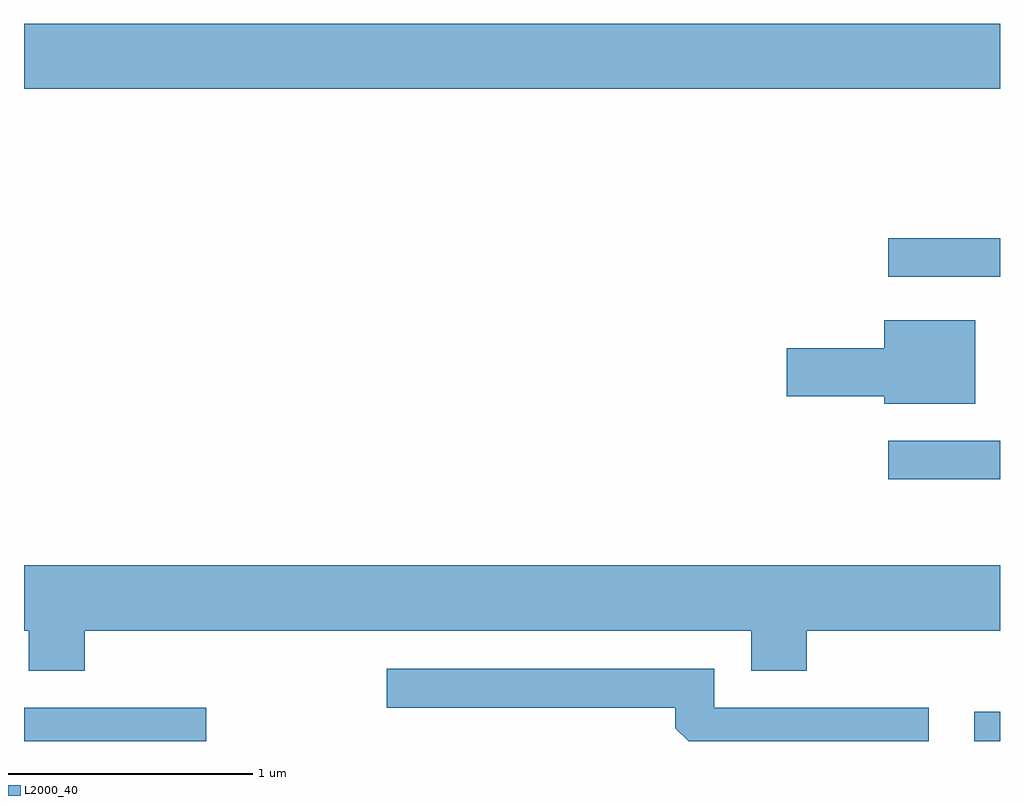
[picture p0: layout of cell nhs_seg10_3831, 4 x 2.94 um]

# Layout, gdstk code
import gdstk
lib = gdstk.Library(unit=1e-6, precision=1e-09)
def R(c, l, rs):  # rectangles x0, y0, x1, y1
    for r in rs: c.add(gdstk.rectangle(r[:2], r[2:], *l))
def P(c, l, *ps):  # polygons
    for p in ps: c.add(gdstk.Polygon(p, *l))
L2000_40 = (2000, 40)

nhs_seg10_3831 = lib.new_cell('nhs_seg10_3831')
R(nhs_seg10_3831, L2000_40, [(297.611,2164.522,298.358,2164.659), (301.506,2164.522,301.611,2164.644), (301.153,2165.596,301.611,2165.754), (301.153,2166.426,301.611,2166.584), (297.611,2167.196,301.611,2167.464)])
P(nhs_seg10_3831, L2000_40, [(301.509,2166.249),(301.136,2166.249),(301.136,2166.134),(300.736,2166.134),(300.736,2165.936),(301.136,2165.936),(301.136,2165.906),(301.509,2165.906)],
  [(297.859,2164.976),(300.591,2164.976),(300.591,2164.811),(300.819,2164.811),(300.819,2164.976),(301.611,2164.976),(301.611,2165.244),(297.611,2165.244),(297.611,2164.976),(297.631,2164.976),(297.631,2164.811),(297.859,2164.811)],
  [(301.318,2164.659),(300.439,2164.659),(300.439,2164.819),(299.098,2164.819),(299.098,2164.661),(300.281,2164.661),(300.281,2164.577),(300.336,2164.522),(301.318,2164.522)])

lib.write_gds('nhs_seg10_3831.gds')
